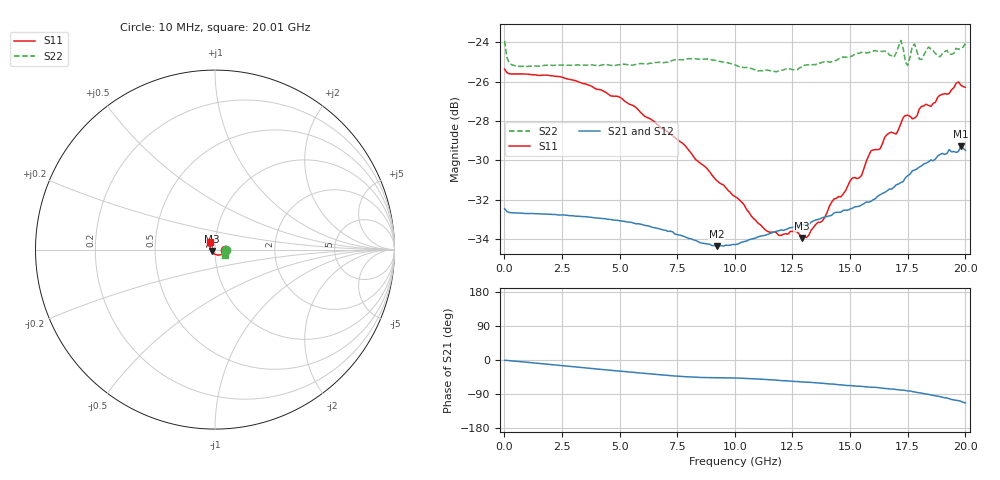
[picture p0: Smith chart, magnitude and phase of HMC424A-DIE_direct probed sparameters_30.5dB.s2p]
!s2p File: Measurements: S11, S21, S12, S22
# GHz S dB R 50.0
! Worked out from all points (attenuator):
!   201 points, 10 MHz to 20.01 GHz, reference 50 ohm
!   highest |S21| = -29.28 dB at 19.81 GHz (marker M1); lowest = -34.4 dB at 9.21 GHz (marker M2)
!   lowest |S11| = -33.9 dB at 12.91 GHz (marker M3), VSWR 1.04, Z = 48.2 - j0.78 ohm
!   |S11| at or under -10 dB: start of sweep to end of sweep
!   |S22| runs from -25.5 to -23.9 dB; largest |S21 - S12| = 0.00033
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0.01  -25.37 0.1  -32.46 -0.6  -32.46 -0.3  -23.93 -1.5
0.11  -25.54 -1.5  -32.60 -1.3  -32.59 -1.3  -24.77 -4.1
0.41  -25.61 -2.9  -32.67 -2.8  -32.68 -2.7  -25.18 -2.7
3.41  -26.10 -23.8  -32.86 -20.2  -32.84 -20.1  -25.16 -9.0
6.71  -28.26 -51.7  -33.47 -38.8  -33.47 -38.7  -25.02 -16.9
9.21  -31.02 -80.0  -34.36 -46.8  -34.34 -46.7  -24.94 -25.5
10.01  -31.84 -91.8  -34.28 -47.8  -34.28 -47.7  -25.15 -27.6
11.41  -33.60 -120.1  -33.77 -51.6  -33.75 -51.5  -25.41 -27.9
12.91  -33.94 -156.2  -33.25 -57.8  -33.25 -57.9  -25.26 -27.4
13.41  -33.42 -168.1  -33.08 -59.3  -33.09 -59.4  -25.13 -27.7
15.51  -30.75 154.4  -32.26 -69.6  -32.23 -69.5  -24.51 -30.6
15.91  -29.52 147.9  -32.08 -71.8  -32.09 -71.7  -24.47 -31.4
16.71  -28.61 137.7  -31.46 -76.2  -31.44 -76.2  -24.65 -34.3
16.91  -28.62 135.3  -31.36 -76.9  -31.29 -76.9  -24.76 -32.5
17.21  -28.13 136.4  -31.13 -79.4  -31.07 -79.7  -23.91 -34.8
17.51  -27.71 131.3  -30.78 -81.7  -30.81 -82.1  -25.18 -32.7
17.81  -27.85 129.1  -30.49 -84.3  -30.52 -84.5  -24.09 -34.2
18.11  -27.26 125.8  -30.28 -87.4  -30.32 -87.1  -24.88 -31.9
18.41  -27.21 122.9  -30.08 -90.6  -30.12 -90.5  -24.24 -32.3
18.91  -26.69 122.5  -29.70 -96.7  -29.71 -96.4  -24.74 -31.1
19.81  -26.18 119.8  -29.28 -108.9  -29.29 -108.8  -24.32 -28.0
20.01  -26.29 121.9  -29.49 -113.4  -29.46 -113.2  -24.07 -26.4
